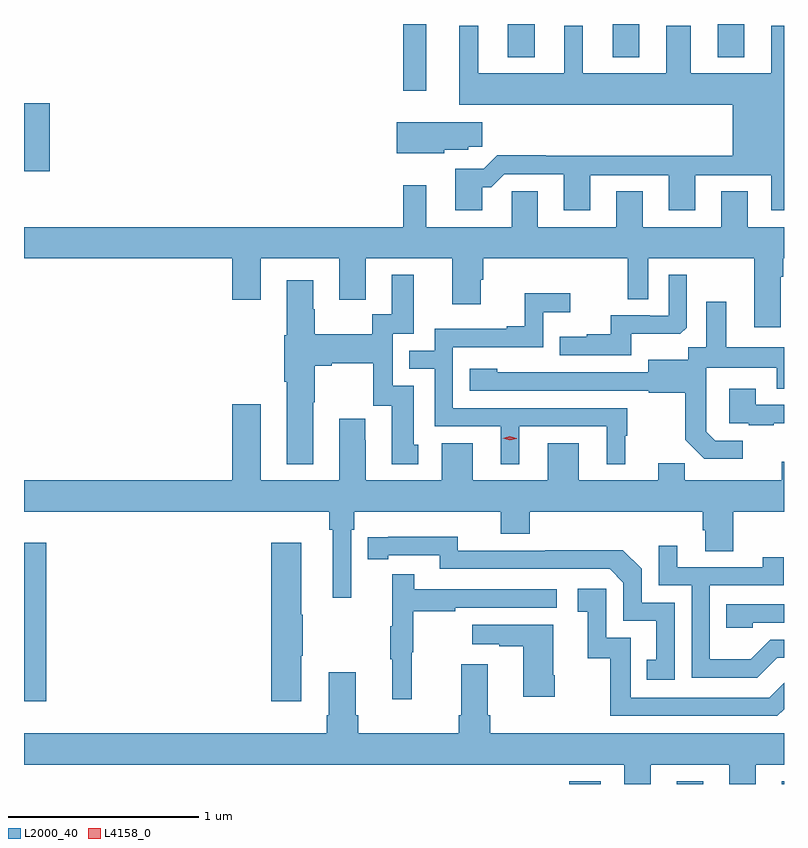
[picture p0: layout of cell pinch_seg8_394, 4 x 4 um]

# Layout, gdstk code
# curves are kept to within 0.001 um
import gdstk
lib = gdstk.Library(unit=1e-6, precision=1e-09)
def R(c, l, rs):  # rectangles x0, y0, x1, y1
    for r in rs: c.add(gdstk.rectangle(r[:2], r[2:], *l))
def A(c, l, x, y, w, h, nx, ny, dx, dy):  # array of equal rectangles
    R(c, l, [(x+i*dx, y+j*dy, x+i*dx+w, y+j*dy+h) for i in range(nx) for j in range(ny)])
def P(c, l, *ps):  # polygons
    for p in ps: c.add(gdstk.Polygon(p, *l))
L2000_40 = (2000, 40)
L4158_0 = (4158, 0)

pinch_seg8_394 = lib.new_cell('pinch_seg8_394')
A(pinch_seg8_394, L2000_40, 508.031, 1097.579, 0.14, 0.175, 3, 1, 0.552, 0)
R(pinch_seg8_394, L2000_40, [(508.355,1093.754,508.519,1093.768), (508.919,1093.754,509.059,1093.768), (509.471,1093.754,509.484,1093.768), (505.484,1094.19,505.601,1095.025), (505.484,1096.978,505.619,1097.338), (507.48,1097.403,507.601,1097.754)])
P(pinch_seg8_394, L2000_40, [(507.895,1096.895),(507.944,1096.895),(508.011,1096.962),(508.325,1096.962),(508.325,1096.773),(508.465,1096.773),(508.465,1096.959),(508.877,1096.959),(508.877,1096.773),(509.017,1096.773),(509.017,1096.959),(509.417,1096.959),(509.417,1096.773),(509.484,1096.773),(509.484,1097.746),(509.417,1097.746),(509.417,1097.494),(508.993,1097.494),(508.993,1097.746),(508.865,1097.746),(508.865,1097.494),(508.426,1097.494),(508.426,1097.746),(508.328,1097.746),(508.328,1097.494),(507.874,1097.494),(507.874,1097.746),(507.776,1097.746),(507.776,1097.33),(509.213,1097.33),(509.213,1097.06),(508.229,1097.06),(508.229,1097.063),(507.974,1097.063),(507.903,1096.992),(507.755,1096.992),(507.755,1096.773),(507.895,1096.773)],
  [(507.696,1097.093),(507.822,1097.093),(507.822,1097.107),(507.895,1097.107),(507.895,1097.236),(507.446,1097.236),(507.446,1097.075),(507.696,1097.075)],
  [(509.467,1096.424),(509.48,1096.424),(509.48,1096.52),(509.484,1096.52),(509.484,1096.684),(509.293,1096.684),(509.293,1096.874),(509.153,1096.874),(509.153,1096.684),(508.741,1096.684),(508.741,1096.874),(508.601,1096.874),(508.601,1096.684),(508.189,1096.684),(508.189,1096.874),(508.05,1096.874),(508.05,1096.684),(507.601,1096.684),(507.601,1096.906),(507.48,1096.906),(507.48,1096.684),(505.484,1096.684),(505.484,1096.52),(506.579,1096.52),(506.579,1096.302),(506.731,1096.302),(506.731,1096.52),(507.143,1096.52),(507.143,1096.302),(507.283,1096.302),(507.283,1096.52),(507.737,1096.52),(507.737,1096.278),(507.889,1096.278),(507.889,1096.407),(507.902,1096.407),(507.902,1096.52),(508.662,1096.52),(508.662,1096.306),(508.77,1096.306),(508.77,1096.52),(509.327,1096.52),(509.327,1096.158),(509.467,1096.158)],
  [(507.007,1095.763),(507.015,1095.763),(507.015,1095.956),(507.103,1095.956),(507.103,1095.968),(507.323,1095.968),(507.323,1095.744),(507.419,1095.744),(507.419,1095.438),(507.559,1095.438),(507.559,1095.54),(507.535,1095.54),(507.535,1095.849),(507.426,1095.849),(507.426,1096.125),(507.535,1096.125),(507.535,1096.435),(507.419,1096.435),(507.419,1096.226),(507.318,1096.226),(507.318,1096.12),(507.015,1096.12),(507.015,1096.254),(507.007,1096.254),(507.007,1096.405),(506.867,1096.405),(506.867,1096.116),(506.855,1096.116),(506.855,1095.872),(506.867,1095.872),(506.867,1095.437),(507.007,1095.437)],
  [(508.681,1096.124),(508.939,1096.124),(508.971,1096.155),(508.971,1096.435),(508.878,1096.435),(508.878,1096.218),(508.778,1096.218),(508.778,1096.221),(508.571,1096.221),(508.571,1096.12),(508.447,1096.12),(508.447,1096.108),(508.303,1096.108),(508.303,1096.011),(508.681,1096.011)],
  [(508.09,1095.636),(508.55,1095.636),(508.55,1095.437),(508.648,1095.437),(508.648,1095.588),(508.66,1095.588),(508.66,1095.732),(507.741,1095.732),(507.741,1096.053),(508.218,1096.053),(508.218,1096.238),(508.36,1096.238),(508.36,1096.337),(508.12,1096.337),(508.12,1096.162),(508.025,1096.162),(508.025,1096.149),(507.645,1096.149),(507.645,1096.035),(507.511,1096.035),(507.511,1095.939),(507.645,1095.939),(507.645,1095.636),(507.992,1095.636),(507.992,1095.437),(508.09,1095.437)],
  [(509.266,1095.561),(509.121,1095.561),(509.074,1095.608),(509.074,1095.703),(509.076,1095.703),(509.076,1095.944),(509.447,1095.944),(509.447,1095.835),(509.484,1095.835),(509.484,1096.054),(509.179,1096.054),(509.179,1096.291),(509.075,1096.291),(509.075,1096.052),(508.98,1096.052),(508.98,1095.988),(508.769,1095.988),(508.769,1095.921),(507.975,1095.922),(507.975,1095.94),(507.831,1095.94),(507.831,1095.825),(508.773,1095.825),(508.773,1095.813),(508.965,1095.813),(508.965,1095.567),(509.065,1095.467),(509.266,1095.467)],
  [(509.431,1095.653),(509.484,1095.653),(509.484,1095.75),(509.335,1095.75),(509.335,1095.835),(509.195,1095.835),(509.195,1095.654),(509.299,1095.654),(509.299,1095.642),(509.431,1095.642)],
  [(507.207,1095.092),(507.221,1095.092),(507.221,1095.188),(507.992,1095.188),(507.992,1095.071),(508.145,1095.071),(508.145,1095.188),(509.057,1095.188),(509.057,1095.09),(509.069,1095.09),(509.069,1094.98),(509.217,1094.98),(509.217,1095.188),(509.484,1095.188),(509.484,1095.451),(509.471,1095.451),(509.471,1095.352),(508.961,1095.352),(508.961,1095.443),(508.823,1095.443),(508.823,1095.352),(508.405,1095.352),(508.405,1095.547),(508.241,1095.547),(508.241,1095.352),(507.847,1095.352),(507.847,1095.547),(507.683,1095.547),(507.683,1095.352),(507.283,1095.352),(507.283,1095.563),(507.28,1095.563),(507.28,1095.676),(507.143,1095.676),(507.143,1095.352),(506.731,1095.352),(506.731,1095.754),(506.579,1095.754),(506.579,1095.352),(505.484,1095.352),(505.484,1095.188),(507.091,1095.188),(507.091,1095.092),(507.11,1095.092),(507.11,1094.733),(507.207,1094.733)],
  [(508.908,1094.709),(508.734,1094.709),(508.734,1094.886),(508.636,1094.984),(508.228,1094.984),(508.228,1094.982),(507.768,1094.982),(507.768,1095.055),(507.292,1095.054),(507.292,1094.938),(507.4,1094.938),(507.4,1094.958),(507.672,1094.958),(507.672,1094.886),(508.566,1094.886),(508.638,1094.814),(508.638,1094.613),(508.811,1094.613),(508.811,1094.409),(508.762,1094.409),(508.762,1094.304),(508.908,1094.304)],
  [(506.944,1094.428),(506.952,1094.428),(506.952,1094.645),(506.944,1094.645),(506.944,1095.025),(506.786,1095.025),(506.786,1094.19),(506.944,1094.19)],
  [(509.449,1094.418),(509.484,1094.418),(509.484,1094.514),(509.412,1094.514),(509.308,1094.41),(509.094,1094.41),(509.094,1094.799),(509.483,1094.799),(509.483,1094.947),(509.372,1094.947),(509.372,1094.895),(508.921,1094.895),(508.921,1095.007),(508.824,1095.007),(508.824,1094.799),(508.998,1094.799),(508.998,1094.313),(509.344,1094.313)],
  [(507.524,1094.448),(507.532,1094.448),(507.532,1094.662),(507.755,1094.662),(507.755,1094.682),(508.288,1094.682),(508.288,1094.778),(507.539,1094.778),(507.539,1094.857),(507.422,1094.857),(507.422,1094.585),(507.411,1094.585),(507.411,1094.411),(507.422,1094.411),(507.422,1094.199),(507.524,1094.199)],
  [(509.484,1094.148),(509.484,1094.286),(509.406,1094.208),(508.677,1094.208),(508.677,1094.523),(508.548,1094.523),(508.548,1094.782),(508.398,1094.782),(508.398,1094.661),(508.451,1094.661),(508.451,1094.415),(508.569,1094.415),(508.569,1094.112),(509.448,1094.112)],
  [(509.319,1094.604),(509.484,1094.604),(509.484,1094.7),(509.179,1094.7),(509.179,1094.577),(509.319,1094.577)],
  [(508.278,1094.326),(508.27,1094.326),(508.27,1094.593),(507.843,1094.593),(507.843,1094.489),(507.986,1094.489),(507.986,1094.479),(508.112,1094.479),(508.112,1094.214),(508.278,1094.214)],
  [(508.783,1093.856),(509.195,1093.856),(509.195,1093.754),(509.335,1093.754),(509.335,1093.856),(509.484,1093.856),(509.484,1094.02),(507.938,1094.02),(507.938,1094.116),(507.925,1094.116),(507.925,1094.383),(507.785,1094.383),(507.785,1094.116),(507.773,1094.116),(507.773,1094.02),(507.242,1094.02),(507.242,1094.116),(507.229,1094.116),(507.229,1094.341),(507.089,1094.341),(507.089,1094.116),(507.077,1094.116),(507.077,1094.02),(505.484,1094.02),(505.484,1093.856),(508.643,1093.856),(508.643,1093.754),(508.783,1093.754)])
P(pinch_seg8_394, L4158_0, [(508.041,1095.563),(508.005,1095.574),(508.005,1095.574),(508.005,1095.574),(508.041,1095.583),(508.077,1095.573),(508.077,1095.573),(508.077,1095.572)])

lib.write_gds('pinch_seg8_394.gds')
